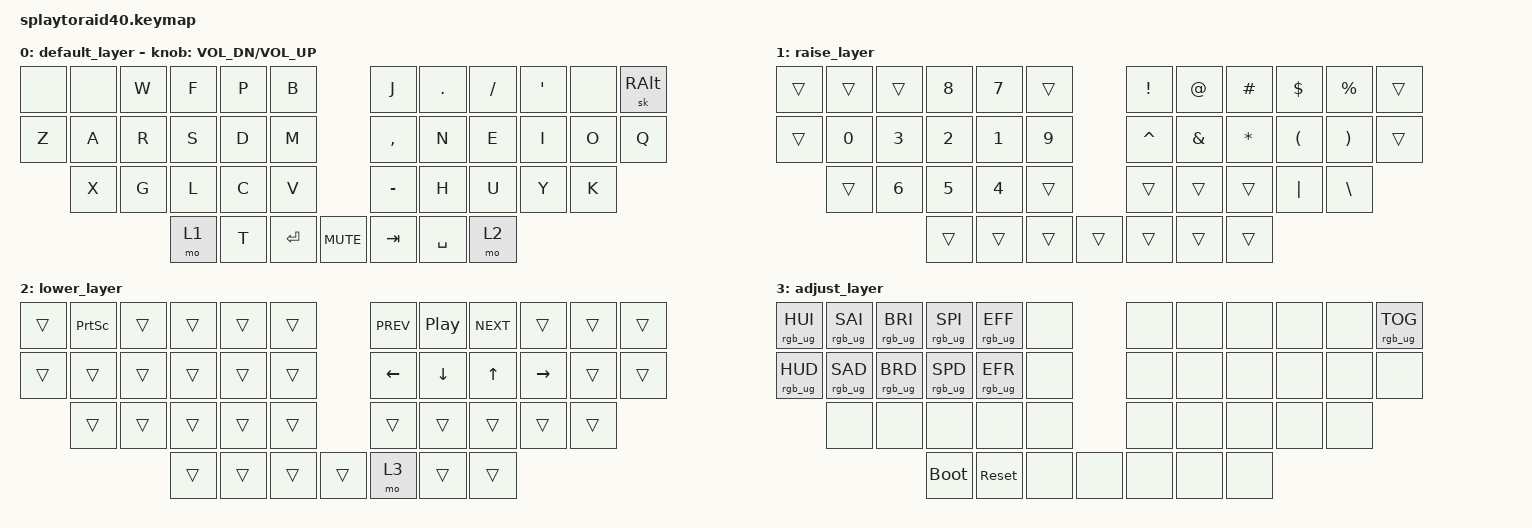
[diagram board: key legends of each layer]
/*
 * Copyright (c) 2021 The ZMK Contributors
 *
 * SPDX-License-Identifier: MIT
 */

#include <behaviors.dtsi>
#include <dt-bindings/zmk/keys.h>
#include <dt-bindings/zmk/bt.h>
#include <dt-bindings/zmk/outputs.h>
#include <dt-bindings/zmk/rgb.h>

&sk {
    quick-release;
};

&caps_word {
    continue-list = <UNDERSCORE MINUS BSPC LSHFT RSHFT>;
};

/ {
    macros {
        macro_ae: macro_ae {
          compatible = "zmk,behavior-macro";
          #binding-cells = <0>;
          bindings = <&macro_press &kp RALT>
                   , <&macro_tap &kp U>
                   , <&macro_release &kp RALT>
                   , <&macro_tap &kp A>;
        };

        macro_oe: macro_oe {
          compatible = "zmk,behavior-macro";
          #binding-cells = <0>;
          bindings = <&macro_press &kp RALT>
                   , <&macro_tap &kp U>
                   , <&macro_release &kp RALT>
                   , <&macro_tap &kp O>;
        };

        macro_ue: macro_ue {
          compatible = "zmk,behavior-macro";
          #binding-cells = <0>;
          bindings = <&macro_press &kp RALT>
                   , <&macro_tap &kp U>
                   , <&macro_release &kp RALT>
                   , <&macro_tap &kp U>;
        };
    };

    combos {
        compatible = "zmk,combos";
        /*
         0  1  2  3  4  5 ||  6  7  8  9 10 11
        12 13 14 15 16 17 || 18 19 20 21 22 23
           24 25 26 27 28 || 29 30 31 32 33
                 34 35 36 37 38 39 40
        */

        // mods ----------------------------------------------------------
        combo_sk_lctl {
            timeout-ms = <40>;
            key-positions = <25 26>;
            bindings = <&sk LCTRL>;
        };

        combo_sk_lsft {
            timeout-ms = <40>;
            key-positions = <8 9>;
            bindings = <&sk LSHIFT>;
        };

        combo_sk_lalt {
            timeout-ms = <40>;
            key-positions = <31 32>;
            bindings = <&sk LALT>;
        };

        combo_caps_word {
            timeout-ms = <40>;
            key-positions = <16 19>;
            bindings = <&caps_word>;
        };

        // control and whitespace ----------------------------------------
        combo_backspace {
            timeout-ms = <40>;
            key-positions = <19 20>;
            bindings = <&kp BACKSPACE>;
        };

        combo_word_backspace {
            timeout-ms = <40>;
            key-positions = <19 20 21>;
            bindings = <&kp LC(BACKSPACE)>;
        };

        combo_delete {
            timeout-ms = <40>;
            key-positions = <15 16>;
            bindings = <&kp DELETE>;
        };

        combo_escape {
            timeout-ms = <40>;
            key-positions = <13 16>;
            bindings = <&kp ESC>;
        };

        // umlaut and the likes ------------------------------------------
        combo_ae {
            timeout-ms = <40>;
            key-positions = <25 27>;
            bindings = <&kp RA(A)>;
        };

        combo_ue {
            timeout-ms = <40>;
            key-positions = <30 32>;
            bindings = <&kp RA(U)>;
        };

        combo_oe {
            timeout-ms = <40>;
            key-positions = <30 33>;
            bindings = <&kp RA(O)>;
        };

        // symbols -------------------------------------------------------
        combo_lparen {
            timeout-ms= <40>;
            key-positions = <2 16>;
            bindings = <&kp LPAR>;
        };

        combo_rparen {
            timeout-ms = <40>;
            key-positions = <19 9>;
            bindings = <&kp RPAR>;
        };

        combo_lbracket {
            timeout-ms = <35>;
            key-positions = <14 16>;
            bindings = <&kp LBKT>;
        };

        combo_rbracket {
            timeout-ms = <35>;
            key-positions = <19 21>;
            bindings = <&kp RBKT>;
        };

        combo_lbrace {
            timeout-ms = <40>;
            key-positions = <3 16>;
            bindings = <&kp LBRC>;
        };

        combo_rbrace {
            timeout-ms = <40>;
            key-positions = <19 8>;
            bindings = <&kp RBRC>;
        };

        combo_langlebr {
            timeout-ms = <40>;
            key-positions = <25 16>;
            bindings = <&kp LESS_THAN>;
        };

        combo_ranglebr {
            timeout-ms = <40>;
            key-positions = <19 32>;
            bindings = <&kp GREATER_THAN>;
        };

        combo_exclaim {
            timeout-ms = <50>;
            key-positions = <2 3 16>;
            bindings = <&kp EXCL>;
        };

        combo_question {
            timeout-ms = <50>;
            key-positions = <14 15 4>;
            bindings = <&kp QMARK>;
        };

        combo_colon {
            timeout-ms = <40>;
            key-positions = <6 7>;
            bindings = <&kp COLON>;
        };

        combo_semi {
            timeout-ms = <40>;
            key-positions = <30 31>;
            bindings = <&kp SEMI>;
        };

        combo_equal {
            timeout-ms = <40>;
            key-positions = <7 8>;
            bindings = <&kp EQUAL>;
        };

        combo_grave {
            timeout-ms = <40>;
            key-positions = <9 10>;
            bindings = <&kp GRAVE>;
        };

        combo_tilde {
            timeout-ms = <40>;
            key-positions = <32 33>;
            bindings = <&kp TILDE>;
        };

        combo_dquote {
            timeout-ms = <40>;
            key-positions = <7 10>;
            bindings = <&kp DQT>;
        };

        combo_plus {
            timeout-ms = <40>;
            key-positions = <29 30>;
            bindings = <&kp PLUS>;
        };
    };

    keymap {
        /*     bindings = < */
        /* &trans &trans &trans &trans &trans &trans /\**\/   &trans &trans &trans &trans &trans &trans */
        /* &trans &trans &trans &trans &trans &trans /\**\/   &trans &trans &trans &trans &trans &trans */
        /*        &trans &trans &trans &trans &trans /\**\/   &trans &trans &trans &trans &trans */
        /*                      &trans &trans &trans &trans &trans &trans &trans */
        /*     >; */

        compatible = "zmk,keymap";
        default_layer {
            /* | ××× | ××× | w  | f   | p | b   || j   | . | /   | ' | ××× | ××× |
               | z   | a   | r  | s   | d | m   || ,   | n | e   | i | o   | q   |
                     | x   | g  | l   | c | v   || -   | h | u   | y | k   |
                                | × 1 | t | ret || tab | ␣ | × 2 |                 */
            bindings = <
        &none &none &kp W &kp F &kp P &kp B   /**/       &kp J     &kp DOT   &kp SLASH &kp SQT &none &sk RALT
        &kp Z &kp A &kp R &kp S &kp D &kp M   /**/       &kp COMMA &kp N     &kp E     &kp I   &kp O &kp Q
              &kp X &kp G &kp L &kp C &kp V   /**/       &kp MINUS &kp H     &kp U     &kp Y   &kp K
                          &mo 1 &kp T &kp RET &kp C_MUTE &kp TAB   &kp SPACE &mo 2
            >;
            sensor-bindings = <&inc_dec_kp C_VOL_DN C_VOL_UP>;
        };

        /* raise_layer { */
        /*     /\* | --- | % | $ | #   | @   | !   || 7   | 8 | 9   | -   | /   | --- | */
        /*        | --- | ) | ( | *   | &   | ^   || 4   | 5 | 6   | +   | *   | --- | */
        /*              | \ | | | --- | --- | --- || 1   | 2 | 3   | --- | --- | */
        /*                      | --- | --- | --- || --- | 0 | --- |                   *\/ */
        /*     bindings = < */
        /* &trans &kp PRCNT &kp DLLR &kp HASH  &kp AT   &kp EXCL  /\**\/   &kp N7 &kp N8 &kp N9 &kp KP_MINUS &kp KP_SLASH     &trans */
        /* &trans &kp RPAR  &kp LPAR &kp ASTRK &kp AMPS &kp CARET /\**\/   &kp N4 &kp N5 &kp N6 &kp KP_PLUS  &kp KP_ASTERISK  &trans */
        /*        &kp BSLH  &kp PIPE &trans    &trans   &trans    /\**\/   &kp N1 &kp N2 &kp N3 &trans       &trans */
        /*                           &trans    &trans   &trans    &trans &trans &kp N0 &trans */
        /*     >; */
        /* }; */

        raise_layer {
            /* | --- | --- | --- | 8   | 7   | --- || !   | @   | #   | $   | %   | --- |
               | --- | 0   | 3   | 2   | 1   | 9   || ^   | &   | *   | (   | )   | --- |
                     | --- | 6   | 5   | 4   | --- || --- | --- | --- | |   | \   |
                                 | --- | --- | --- || --- | --- | --- |                   */
            bindings = <
        &trans &trans &trans &kp N8 &kp N7 &trans /**/   &kp EXCL  &kp AT   &kp HASH  &kp DLLR &kp PRCNT &trans
        &trans &kp N0 &kp N3 &kp N2 &kp N1 &kp N9 /**/   &kp CARET &kp AMPS &kp ASTRK &kp LPAR &kp RPAR  &trans
               &trans &kp N6 &kp N5 &kp N4 &trans /**/   &trans    &trans   &trans    &kp PIPE &kp BSLH
                             &trans &trans &trans &trans &trans    &trans   &trans
            >;
        };

        lower_layer {
            /* | --- | print | --- | --- | --- | --- || prev | pause | next | ---   | --- | --- |
               | --- | ---   | --- | --- | --- | --- || left | down  | up   | right | --- | --- |
                     | ---   | --- | --- | --- | --- || ---  | ---   | ---  | ---   | --- |
                                   | --- | --- | --- || × 3  | ---   | ---  |                     */
            bindings = <
        &trans &kp PSCRN &trans &trans &trans &trans /**/   &kp C_PREV &kp C_PP &kp C_NEXT &trans    &trans &trans
        &trans &trans    &trans &trans &trans &trans /**/   &kp LEFT   &kp DOWN &kp UP     &kp RIGHT &trans &trans
               &trans    &trans &trans &trans &trans /**/   &trans     &trans   &trans     &trans    &trans
                                &trans &trans &trans &trans &mo 3      &trans   &trans
            >;
        };

        adjust_layer {
            /* | rgb hui | rgb sai | rgb bri | rgb spi | rgb eff | ××× || ××× | ××× | ××× | ××× | ××× | rgb tog |
               | rgb hud | rgb sad | rgb brd | rgb spd | rgb efr | ××× || ××× | ××× | ××× | ××× | ××× | ×××     |
                         | ×××     | ×××     | ×××     | ×××     | ××× || ××× | ××× | ××× | ××× | ××× |
                                             | reset   | reload  | ××× || ××× | ××× | ××× |                       */
            bindings = <
        &rgb_ug RGB_HUI &rgb_ug RGB_SAI &rgb_ug RGB_BRI &rgb_ug RGB_SPI &rgb_ug RGB_EFF &none /**/  &none &none &none &none &none &rgb_ug RGB_TOG
        &rgb_ug RGB_HUD &rgb_ug RGB_SAD &rgb_ug RGB_BRD &rgb_ug RGB_SPD &rgb_ug RGB_EFR &none /**/  &none &none &none &none &none &none
                        &none           &none           &none           &none           &none /**/  &none &none &none &none &none
                                                        &bootloader     &sys_reset      &none &none &none &none &none
            >;
        };
    };
};
